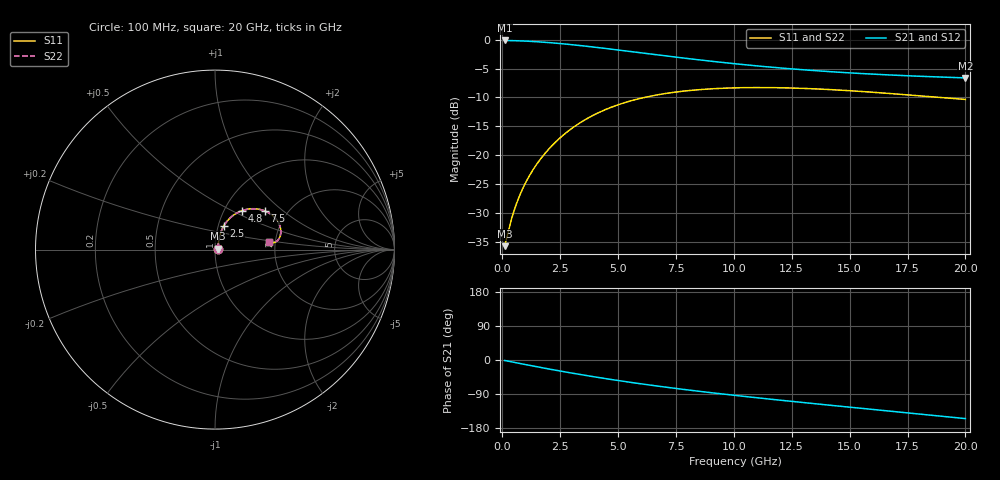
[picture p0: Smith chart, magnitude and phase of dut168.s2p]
! Touchstone file exported from HFSS 2024.1.0
!  File:  C:/UserFiles/LocalFiles/RDL_TSV_Batchsim/temp_RDL_TSV_168_1779435800.aedt
!  Generated:  03:59:08 PM May 22, 2026
!  Design:  RDL_TSV
!  Project:  temp_RDL_TSV_168_1779435800
!  Setup:  Setup1
!  Solution:  Sweep
! Variables:
!  dtsv = 5.46um
!  hbump = 3um
!  htsv = 51.55um
!  ldown = 249.5um
!  lrdl = 417.9um
!  p = 40
!  p1 = 41.64um
!  rhole = 10um
!  subl = 2420.1um
!  t = 450um
!  tdown = 4.45um
!  trdl = 3.43um
!  viad = 10um
!  wdown = 12.52um
!  wrdl = 19.34um
!  xbump = 18um
# GHz S MA R 50.000000
! Terminal data exported
! Port[1] = TM1_1_T1
! Port[2] = TM1_4_T1
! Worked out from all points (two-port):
!   200 points, 100 MHz to 20 GHz, reference 50 ohm
!   highest |S21| = -0.13 dB at 100 MHz (marker M1); lowest = -6.6 dB at 20 GHz (marker M2)
!   |S21| within 3 dB of the highest: start of sweep to 7.724 GHz
!   lowest |S11| = -35.8 dB at 100 MHz (marker M3), VSWR 1.03, Z = 51.5 + j0.608 ohm
!   |S11| at or under -10 dB: start of sweep to 6.149 GHz; 18.84 GHz to end of sweep
!   |S22| runs from -35.8 to -8.3 dB; largest |S21 - S12| = 9.5e-15
!   S11 on the Smith chart (normalised r, x): 100 MHz: 1.03, +0.01; 2.5 GHz: 1.06, +0.29; 4.8 GHz: 1.21, +0.56; 7.5 GHz: 1.55, +0.76; 20 GHz: 1.85, +0.17
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0.1  0.01625 21.3  0.9848 -1.2  0.9848 -1.2  0.01625 21.3
! Gamma 0 0 0 0
! Port Impedance 50 0 50 0
0.3  0.0236 46.0  0.983 -3.7  0.983 -3.7  0.02361 46.0
0.5  0.0326 57.0  0.9806 -6.1  0.9806 -6.1  0.0326 57.0
0.7  0.04214 63.0  0.9777 -8.5  0.9777 -8.5  0.04215 63.0
1  0.05726 68.0  0.9722 -12.1  0.9722 -12.1  0.05726 68.0
1.3  0.07315 70.3  0.9654 -15.6  0.9654 -15.6  0.07314 70.3
1.7  0.09526 71.4  0.9541 -20.2  0.9541 -20.2  0.09524 71.3
2.1  0.1181 70.9  0.9408 -24.7  0.9408 -24.7  0.1181 70.9
2.5  0.1413 69.6  0.9259 -29.1  0.9259 -29.1  0.1413 69.6
3  0.1702 67.2  0.9054 -34.5  0.9054 -34.5  0.1701 67.1
3.5  0.1984 64.2  0.8835 -39.7  0.8835 -39.7  0.1983 64.1
4.1  0.2303 60.2  0.8562 -45.7  0.8562 -45.7  0.2301 60.1
4.8  0.264 55.3  0.8237 -52.3  0.8237 -52.3  0.2638 55.2
5.7  0.3008 49.1  0.7824 -60.4  0.7824 -60.4  0.3005 49.0
6.8  0.3354 41.9  0.7343 -69.6  0.7343 -69.6  0.3351 41.8
7.5  0.3519 37.7  0.7059 -75.1  0.7059 -75.1  0.3516 37.6
8.8  0.3727 30.6  0.6581 -84.8  0.6581 -84.8  0.3722 30.6
10.1  0.3828 24.6  0.6172 -93.8  0.6172 -93.8  0.3823 24.5
11.7  0.3841 18.4  0.5757 -104.2  0.5757 -104.2  0.3836 18.3
13.4  0.3757 13.2  0.5411 -114.8  0.5411 -114.8  0.3751 13.1
16.7  0.3421 7.3  0.4949 -134.7  0.4949 -134.7  0.3415 7.2
20  0.3036 7.7  0.4667 -154.6  0.4667 -154.6  0.303 7.7
